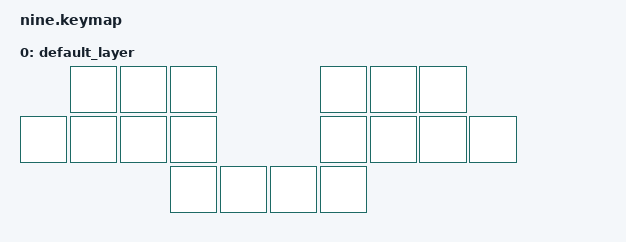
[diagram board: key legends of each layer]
/*
 * Copyright (c) 2020 The ZMK Contributors
 *
 * SPDX-License-Identifier: MIT
 */

#include <behaviors.dtsi>
#include <dt-bindings/zmk/bt.h>
#include <dt-bindings/zmk/keys.h>
#include <dt-bindings/zmk/outputs.h>

// CONFIG
#define COMBO_TIMEOUT 70
#define COMBO_LAYERS 0
#define STICKY_TIMEOUT 500

// LEFT SIDE
#define TLI 2 // TOP
#define TLM 1 // TOP
#define TLR 0 // TOP
#define LP 6 // TOP
#define BLI 9 // BOTTOM
#define BLM 8 // BOTTOM
#define BLR 7 // BOTTOM
#define LOT 15 // O-THUMB
#define LIT 14 // I-THUMB

// RIGHT SIDE
#define TRI 3 // TOP
#define TRM 4 // TOP
#define TRR 5 // TOP
#define RP 13 // TOP
#define BRI 10 // BOTTOM
#define BRM 11 // BOTTOM
#define BRR 12 // BOTTOM
#define ROT 16 // O-THUMB
#define RIT 17 // I-THUMB

&sk {
    release-after-ms = <STICKY_TIMEOUT>;
    quick-release;
};

/ {
  combos {
    compatible = "zmk,combos";
    #include "posh.dtsi"
  };

  keymap {
    compatible = "zmk,keymap";

    default_layer {
      bindings = <
                        &none            &none             &none                                                   &none            &none            &none                       
        &none           &none            &none             &none                                                   &none            &none            &none            &none      
                                                           &none            &none                 &none            &none
      >;
    };
  };
};
